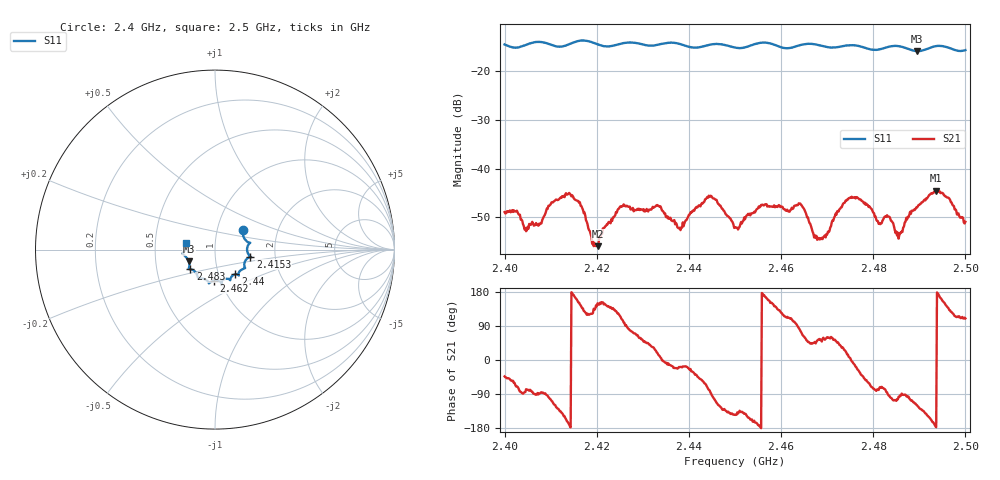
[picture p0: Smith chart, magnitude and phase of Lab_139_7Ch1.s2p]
# Hz S RI R 50
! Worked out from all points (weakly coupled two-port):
!   601 points, 2.4 GHz to 2.5 GHz, reference 50 ohm
!   highest |S21| = -44.52 dB at 2.4937 GHz (marker M1); lowest = -55.9 dB at 2.4203 GHz (marker M2)
!   lowest |S11| = -15.9 dB at 2.4895 GHz (marker M3), VSWR 1.38, Z = 36.9 - j4.98 ohm
!   |S11| at or under -10 dB: start of sweep to end of sweep
!   S12 and S22 are empty: the file has one direction only
!   S11 on the Smith chart (normalised r, x): 2.4 GHz: 1.33, +0.29; 2.4153 GHz: 1.48, -0.12; 2.44 GHz: 1.20, -0.34; 2.462 GHz: 0.93, -0.33; 2.483 GHz: 0.74, -0.17; 2.5 GHz: 0.72, +0.06
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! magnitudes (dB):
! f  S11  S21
! 2.4 GHz  -14.5  -48.9
! 2.4047 GHz  -14.6  -52.8
! 2.4153 GHz  -14.0  -46.4
! 2.4167 GHz  -13.7  -47.7
! 2.4203 GHz  -14.5  -55.9
! 2.4253 GHz  -14.3  -47.8
! 2.4333 GHz  -14.6  -47.6
! 2.438 GHz  -14.4  -52.1
! 2.44 GHz  -15.0  -49.5
! 2.4448 GHz  -14.5  -45.6
! 2.45 GHz  -15.2  -52.0
! 2.462 GHz  -15.2  -48.5
! 2.4643 GHz  -14.6  -47.4
! 2.4667 GHz  -14.4  -52.4
! 2.4695 GHz  -15.0  -53.7
! 2.4752 GHz  -14.7  -46.0
! 2.483 GHz  -15.1  -49.5
! 2.4833 GHz  -15.0  -49.8
! 2.4857 GHz  -14.9  -53.6
! 2.4895 GHz  -15.9  -48.0
! 2.4937 GHz  -14.8  -44.5
! 2.5 GHz  -15.7  -50.9
